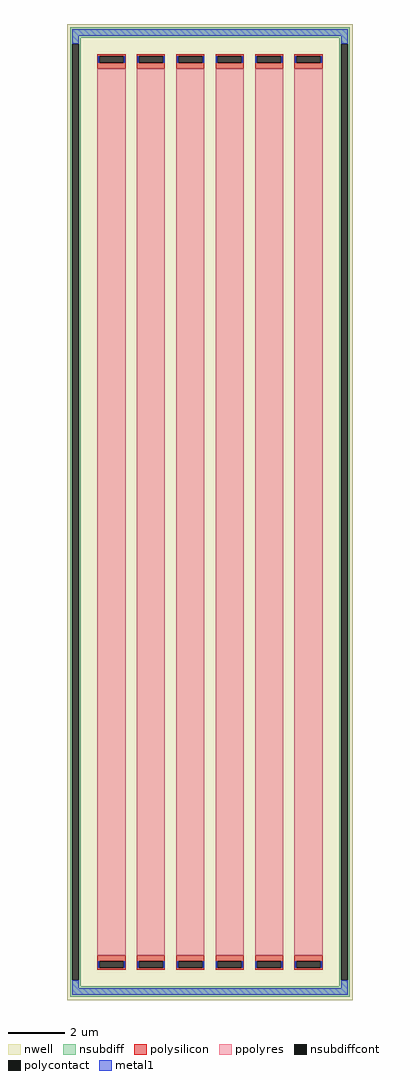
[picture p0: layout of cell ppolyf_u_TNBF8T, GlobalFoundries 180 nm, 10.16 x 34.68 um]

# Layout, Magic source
magic
tech gf180mcuD
magscale 1 10
<< nwell >>
rect -1016 -3468 1016 3468
<< nsubdiff >>
rect -992 3372 992 3444
rect -992 3328 -920 3372
rect -992 -3328 -979 3328
rect -933 -3328 -920 3328
rect 920 3328 992 3372
rect -992 -3372 -920 -3328
rect 920 -3328 933 3328
rect 979 -3328 992 3328
rect 920 -3372 992 -3328
rect -992 -3444 992 -3372
<< nsubdiffcont >>
rect -979 -3328 -933 3328
rect 933 -3328 979 3328
<< polysilicon >>
rect -800 3239 -600 3252
rect -800 3193 -787 3239
rect -613 3193 -600 3239
rect -800 3150 -600 3193
rect -800 -3193 -600 -3150
rect -800 -3239 -787 -3193
rect -613 -3239 -600 -3193
rect -800 -3252 -600 -3239
rect -520 3239 -320 3252
rect -520 3193 -507 3239
rect -333 3193 -320 3239
rect -520 3150 -320 3193
rect -520 -3193 -320 -3150
rect -520 -3239 -507 -3193
rect -333 -3239 -320 -3193
rect -520 -3252 -320 -3239
rect -240 3239 -40 3252
rect -240 3193 -227 3239
rect -53 3193 -40 3239
rect -240 3150 -40 3193
rect -240 -3193 -40 -3150
rect -240 -3239 -227 -3193
rect -53 -3239 -40 -3193
rect -240 -3252 -40 -3239
rect 40 3239 240 3252
rect 40 3193 53 3239
rect 227 3193 240 3239
rect 40 3150 240 3193
rect 40 -3193 240 -3150
rect 40 -3239 53 -3193
rect 227 -3239 240 -3193
rect 40 -3252 240 -3239
rect 320 3239 520 3252
rect 320 3193 333 3239
rect 507 3193 520 3239
rect 320 3150 520 3193
rect 320 -3193 520 -3150
rect 320 -3239 333 -3193
rect 507 -3239 520 -3193
rect 320 -3252 520 -3239
rect 600 3239 800 3252
rect 600 3193 613 3239
rect 787 3193 800 3239
rect 600 3150 800 3193
rect 600 -3193 800 -3150
rect 600 -3239 613 -3193
rect 787 -3239 800 -3193
rect 600 -3252 800 -3239
<< polycontact >>
rect -787 3193 -613 3239
rect -787 -3239 -613 -3193
rect -507 3193 -333 3239
rect -507 -3239 -333 -3193
rect -227 3193 -53 3239
rect -227 -3239 -53 -3193
rect 53 3193 227 3239
rect 53 -3239 227 -3193
rect 333 3193 507 3239
rect 333 -3239 507 -3193
rect 613 3193 787 3239
rect 613 -3239 787 -3193
<< ppolyres >>
rect -800 -3150 -600 3150
rect -520 -3150 -320 3150
rect -240 -3150 -40 3150
rect 40 -3150 240 3150
rect 320 -3150 520 3150
rect 600 -3150 800 3150
<< metal1 >>
rect -979 3385 979 3431
rect -979 3328 -933 3385
rect 933 3328 979 3385
rect -798 3193 -787 3239
rect -613 3193 -602 3239
rect -518 3193 -507 3239
rect -333 3193 -322 3239
rect -238 3193 -227 3239
rect -53 3193 -42 3239
rect 42 3193 53 3239
rect 227 3193 238 3239
rect 322 3193 333 3239
rect 507 3193 518 3239
rect 602 3193 613 3239
rect 787 3193 798 3239
rect -798 -3239 -787 -3193
rect -613 -3239 -602 -3193
rect -518 -3239 -507 -3193
rect -333 -3239 -322 -3193
rect -238 -3239 -227 -3193
rect -53 -3239 -42 -3193
rect 42 -3239 53 -3193
rect 227 -3239 238 -3193
rect 322 -3239 333 -3193
rect 507 -3239 518 -3193
rect 602 -3239 613 -3193
rect 787 -3239 798 -3193
rect -979 -3385 -933 -3328
rect 933 -3385 979 -3328
rect -979 -3431 979 -3385
<< properties >>
string FIXED_BBOX -956 -3408 956 3408
string gencell ppolyf_u
string library gf180mcu
string parameters w 1 l 31.5 m 1 nx 6 wmin 0.80 lmin 1.00 class resistor rho 315 val 10.669k dummy 0 dw 0.07 term 0.0 sterm 0.0 caplen 0.4 snake 0 glc 1 grc 1 gtc 0 gbc 0 roverlap 0 endcov 100 full_metal 1
<< end >>
